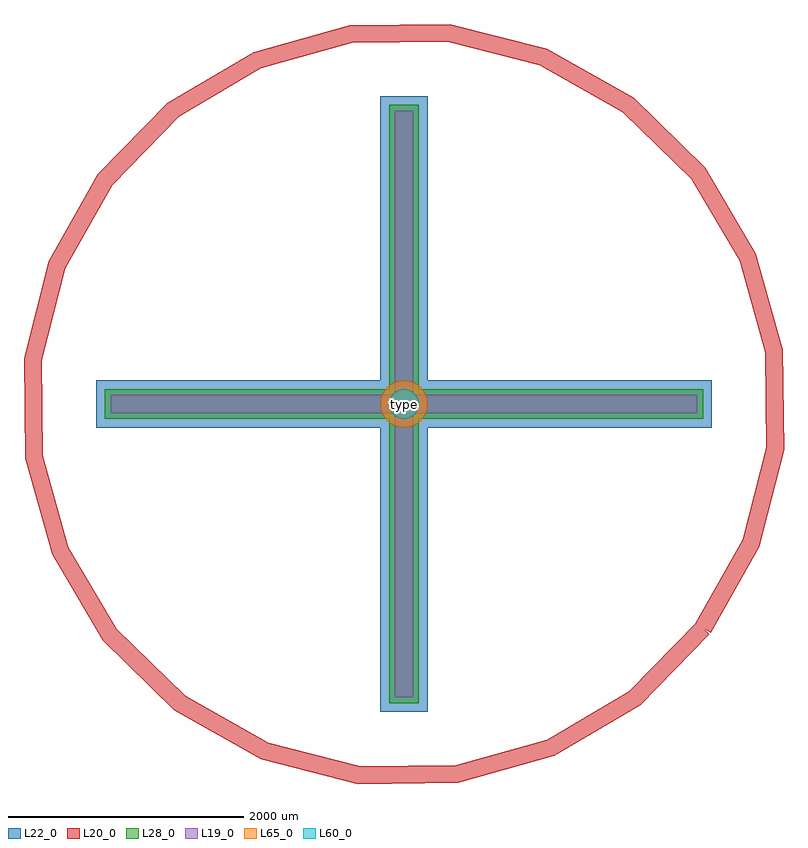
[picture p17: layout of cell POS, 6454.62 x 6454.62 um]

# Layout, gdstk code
import gdstk
lib = gdstk.Library(unit=1e-6, precision=1e-09)
def R(c, l, rs):  # rectangles x0, y0, x1, y1
    for r in rs: c.add(gdstk.rectangle(r[:2], r[2:], *l))
def P(c, l, *ps):  # polygons
    for p in ps: c.add(gdstk.Polygon(p, *l))
L19_0 = (19, 0)
L20_0 = (20, 0)
L22_0 = (22, 0)
L28_0 = (28, 0)
L60_0 = (60, 0)
L65_0 = (65, 0)

pos = lib.new_cell('POS')
R(pos, L19_0, [(-77,-2490,77,2490), (-2490,-77,2490,77)])
R(pos, L22_0, [(-202,-2615,202,2615), (-2615,-202,2615,202)])
P(pos, L22_0, [(202,0),(198.119,39.408),(186.624,77.302),(167.957,112.225),(142.836,142.836),(112.225,167.957),(77.302,186.624),(39.408,198.119),(0,202),(-39.408,198.119),(-77.302,186.624),(-112.225,167.957),(-142.836,142.836),(-167.957,112.225),(-186.624,77.302),(-198.119,39.408),(-202,0),(-198.119,-39.408),(-186.624,-77.302),(-167.957,-112.225),(-142.836,-142.836),(-112.225,-167.957),(-77.302,-186.624),(-39.408,-198.119),(0,-202),(39.408,-198.119),(77.302,-186.624),(112.225,-167.957),(142.836,-142.836),(167.957,-112.225),(186.624,-77.302),(198.119,-39.408)])
R(pos, L28_0, [(-127,-2540,127,2540), (-2540,-127,2540,127)])
P(pos, L28_0, [(127,0),(124.56,24.776),(117.333,48.601),(105.597,70.557),(89.803,89.803),(70.557,105.597),(48.601,117.333),(24.776,124.56),(0,127),(-24.776,124.56),(-48.601,117.333),(-70.557,105.597),(-89.803,89.803),(-105.597,70.557),(-117.333,48.601),(-124.56,24.776),(-127,0),(-124.56,-24.776),(-117.333,-48.601),(-105.597,-70.557),(-89.803,-89.803),(-70.557,-105.597),(-48.601,-117.333),(-24.776,-124.56),(0,-127),(24.776,-124.56),(48.601,-117.333),(70.557,-105.597),(89.803,-89.803),(105.597,-70.557),(117.333,-48.601),(124.56,-24.776)])
P(pos, L60_0, [(127,0),(124.56,24.776),(117.333,48.601),(105.597,70.557),(89.803,89.803),(70.557,105.597),(48.601,117.333),(24.776,124.56),(0,127),(-24.776,124.56),(-48.601,117.333),(-70.557,105.597),(-89.803,89.803),(-105.597,70.557),(-117.333,48.601),(-124.56,24.776),(-127,0),(-124.56,-24.776),(-117.333,-48.601),(-105.597,-70.557),(-89.803,-89.803),(-70.557,-105.597),(-48.601,-117.333),(-24.776,-124.56),(0,-127),(24.776,-124.56),(48.601,-117.333),(70.557,-105.597),(89.803,-89.803),(105.597,-70.557),(117.333,-48.601),(124.56,-24.776)])
P(pos, L65_0, [(202,0),(198.119,39.408),(186.624,77.302),(167.957,112.225),(142.836,142.836),(112.225,167.957),(77.302,186.624),(39.408,198.119),(0,202),(-39.408,198.119),(-77.302,186.624),(-112.225,167.957),(-142.836,142.836),(-167.957,112.225),(-186.624,77.302),(-198.119,39.408),(-202,0),(-198.119,-39.408),(-186.624,-77.302),(-167.957,-112.225),(-142.836,-142.836),(-112.225,-167.957),(-77.302,-186.624),(-39.408,-198.119),(0,-202),(39.408,-198.119),(77.302,-186.624),(112.225,-167.957),(142.836,-142.836),(167.957,-112.225),(186.624,-77.302),(198.119,-39.408)])
pos.add(gdstk.FlexPath([(2540,-1905),(2946.502,-1182.688),(3152.205,-379.778),(3143.09,449.013),(2919.778,1247.205),(2497.489,1960.401),(1905,2540),(1182.688,2946.502),(379.778,3152.205),(-449.013,3143.09),(-1247.205,2919.778),(-1960.401,2497.489),(-2540,1905),(-2946.502,1182.688),(-3152.205,379.778),(-3143.09,-449.013),(-2919.778,-1247.205),(-2497.489,-1960.401),(-1905,-2540),(-1182.688,-2946.502),(-379.778,-3152.205),(449.013,-3143.09),(1247.205,-2919.778),(1960.401,-2497.489),(2540,-1905)], 149.998, ends="flush", simple_path=True, layer=20, datatype=0))  # L20_0
pos.add(gdstk.Label('type', (0,0), layer=9, texttype=0))
pos.add(gdstk.Label('devicename', (-127,-4572), layer=9, texttype=0))

lib.write_gds('POS.gds')
